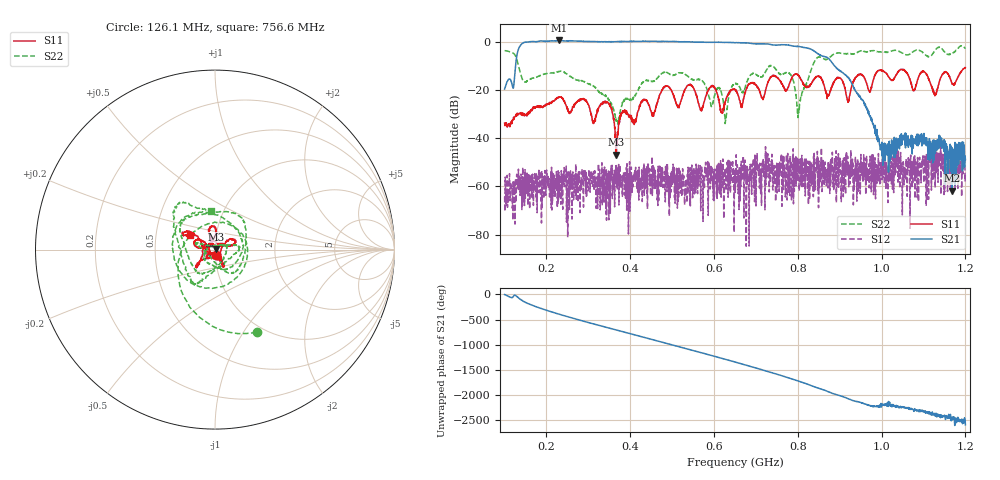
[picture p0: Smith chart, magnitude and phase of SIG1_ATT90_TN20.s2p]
# Hz S DB R 50
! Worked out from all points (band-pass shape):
!   1601 points, 100 MHz to 1.2 GHz, reference 50 ohm
!   highest |S21| = 0.73 dB at 229.2 MHz (marker M1); lowest = -61.8 dB at 1.168 GHz (marker M2)
!   |S21| within 3 dB of the highest: 134.5 MHz to 816.8 MHz (682.4 MHz wide, 143 % of centre)
!   lowest |S11| = -46.8 dB at 365.4 MHz (marker M3), VSWR 1.01, Z = 50.4 + j0.285 ohm
!   |S11| at or under -10 dB: start of sweep to end of sweep
!   |S22| runs from -34.0 to -1.5 dB; largest |S21 - S12| = 1.1
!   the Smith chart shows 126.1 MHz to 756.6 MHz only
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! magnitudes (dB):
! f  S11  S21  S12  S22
! 100 MHz  -33.7  -19.5  -64.3  -3.5
! 141.9 MHz  -29.8  -0.6  -58.0  -15.2
! 229.2 MHz  -23.0  0.7  -54.1  -12.2
! 283.6 MHz  -23.6  0.4  -58.4  -16.1
! 313.1 MHz  -33.0  0.3  -60.0  -18.4
! 348.2 MHz  -25.5  0.2  -53.6  -24.1
! 365.4 MHz  -46.8  0.2  -51.4  -32.6
! 382.6 MHz  -28.5  0.3  -57.8  -25.1
! 467.1 MHz  -23.6  0.3  -59.5  -14.3
! 611.5 MHz  -23.7  0.0  -58.7  -18.8
! 627.3 MHz  -24.3  -0.1  -52.8  -32.5
! 650 MHz  -19.8  -0.2  -52.8  -17.2
! 716 MHz  -23.1  -0.7  -49.5  -14.3
! 738.7 MHz  -14.1  -1.0  -53.4  -9.8
! 782.7 MHz  -16.1  -1.4  -53.1  -13.4
! 801.9 MHz  -13.8  -1.8  -48.7  -29.4
! 833.6 MHz  -16.9  -3.1  -59.1  -10.7
! 920.9 MHz  -24.7  -14.7  -53.5  -4.6
! 944.9 MHz  -13.4  -22.2  -61.9  -4.0
! 1.017 GHz  -14.6  -41.5  -50.9  -4.1
! 1.168 GHz  -17.5  -61.8  -52.5  -4.7
! 1.2 GHz  -10.5  -48.8  -54.3  -2.7
